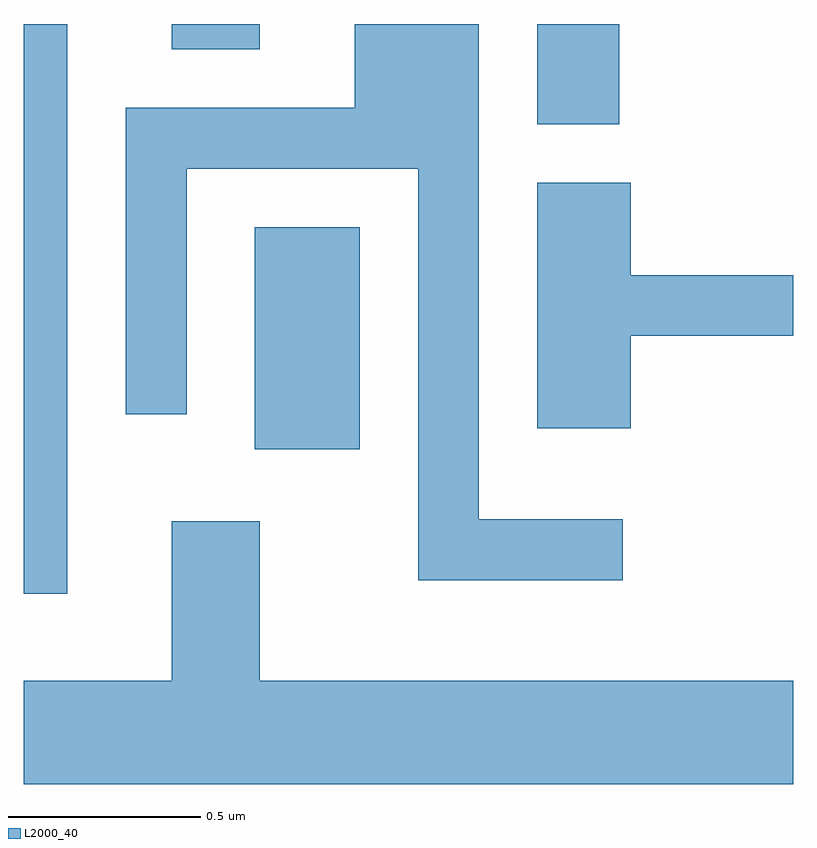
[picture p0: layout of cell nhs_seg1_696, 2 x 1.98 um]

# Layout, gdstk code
import gdstk
lib = gdstk.Library(unit=1e-6, precision=1e-09)
def R(c, l, rs):  # rectangles x0, y0, x1, y1
    for r in rs: c.add(gdstk.rectangle(r[:2], r[2:], *l))
def P(c, l, *ps):  # polygons
    for p in ps: c.add(gdstk.Polygon(p, *l))
L2000_40 = (2000, 40)

nhs_seg1_696 = lib.new_cell('nhs_seg1_696')
R(nhs_seg1_696, L2000_40, [(190.611,851.231,190.724,852.712), (191.211,851.606,191.484,852.184), (191.946,852.451,192.159,852.712), (190.996,852.646,191.224,852.712)])
P(nhs_seg1_696, L2000_40, [(192.168,851.424),(191.794,851.424),(191.794,852.712),(191.471,852.712),(191.471,852.494),(190.876,852.494),(190.876,851.698),(191.034,851.698),(191.034,852.336),(191.636,852.336),(191.636,851.266),(192.168,851.266)],
  [(192.189,851.901),(192.611,851.901),(192.611,852.059),(192.189,852.059),(192.189,852.299),(191.946,852.299),(191.946,851.661),(192.189,851.661)],
  [(192.611,851.004),(191.224,851.004),(191.224,851.419),(190.996,851.419),(190.996,851.004),(190.611,851.004),(190.611,850.736),(192.611,850.736)])

lib.write_gds('nhs_seg1_696.gds')
